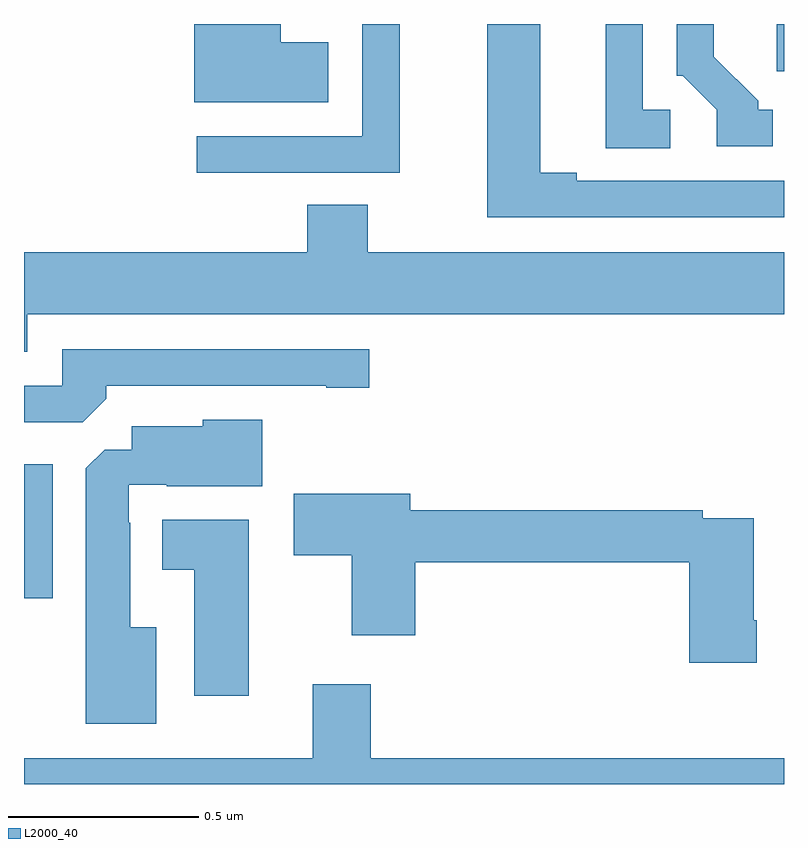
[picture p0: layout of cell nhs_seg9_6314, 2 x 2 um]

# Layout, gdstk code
import gdstk
lib = gdstk.Library(unit=1e-6, precision=1e-09)
def R(c, l, rs):  # rectangles x0, y0, x1, y1
    for r in rs: c.add(gdstk.rectangle(r[:2], r[2:], *l))
def P(c, l, *ps):  # polygons
    for p in ps: c.add(gdstk.Polygon(p, *l))
L2000_40 = (2000, 40)

nhs_seg9_6314 = lib.new_cell('nhs_seg9_6314')
R(nhs_seg9_6314, L2000_40, [(190,1212.989,190.075,1213.342), (191.981,1214.376,192,1214.5)])
P(nhs_seg9_6314, L2000_40, [(192,1214.088),(191.455,1214.088),(191.455,1214.108),(191.359,1214.108),(191.359,1214.5),(191.219,1214.5),(191.219,1213.992),(192,1213.992)],
  [(191.971,1214.274),(191.932,1214.274),(191.932,1214.298),(191.815,1214.414),(191.815,1214.5),(191.718,1214.5),(191.718,1214.364),(191.733,1214.364),(191.823,1214.274),(191.823,1214.178),(191.971,1214.178)],
  [(190.801,1214.452),(190.675,1214.452),(190.675,1214.5),(190.448,1214.5),(190.448,1214.294),(190.801,1214.294)],
  [(191.701,1214.274),(191.628,1214.274),(191.628,1214.5),(191.531,1214.5),(191.531,1214.173),(191.701,1214.173)],
  [(190.989,1214.5),(190.89,1214.5),(190.89,1214.205),(190.455,1214.205),(190.455,1214.109),(190.989,1214.109)],
  [(190.009,1213.736),(192,1213.736),(192,1213.9),(190.905,1213.9),(190.905,1214.024),(190.745,1214.024),(190.745,1213.9),(190,1213.9),(190,1213.637),(190.009,1213.637)],
  [(190.217,1213.514),(190.217,1213.548),(190.796,1213.548),(190.796,1213.543),(190.909,1213.543),(190.909,1213.644),(190.101,1213.644),(190.101,1213.548),(190,1213.548),(190,1213.452),(190.155,1213.452)],
  [(190.348,1212.913),(190.279,1212.913),(190.279,1213.187),(190.275,1213.187),(190.275,1213.287),(190.375,1213.287),(190.375,1213.283),(190.627,1213.283),(190.627,1213.459),(190.47,1213.459),(190.47,1213.441),(190.283,1213.441),(190.283,1213.38),(190.212,1213.38),(190.163,1213.331),(190.163,1212.659),(190.348,1212.659)],
  [(191.928,1212.931),(191.92,1212.931),(191.92,1213.2),(191.786,1213.2),(191.786,1213.22),(191.017,1213.22),(191.017,1213.264),(190.71,1213.264),(190.71,1213.102),(190.862,1213.102),(190.862,1212.891),(191.03,1212.891),(191.03,1213.084),(191.75,1213.084),(191.75,1212.819),(191.928,1212.819)],
  [(190.591,1213.195),(190.364,1213.195),(190.364,1213.064),(190.448,1213.064),(190.448,1212.732),(190.591,1212.732)],
  [(190,1212.5),(192,1212.5),(192,1212.568),(190.913,1212.568),(190.913,1212.763),(190.76,1212.763),(190.76,1212.568),(190,1212.568)])

lib.write_gds('nhs_seg9_6314.gds')
